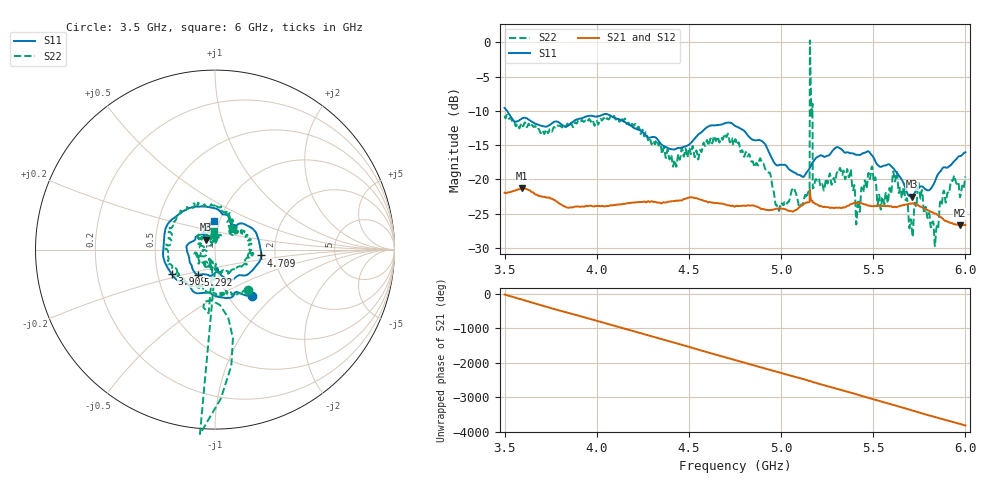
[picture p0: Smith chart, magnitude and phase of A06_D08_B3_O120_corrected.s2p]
! Created with skrf 1.9.0 (http://scikit-rf.org).
# Hz S RI R 50.0
!freq ReS11 ImS11 ReS21 ImS21 ReS12 ImS12 ReS22 ImS22
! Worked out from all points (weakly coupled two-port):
!   1601 points, 3.5 GHz to 6 GHz, reference 50 ohm
!   highest |S21| = -21.32 dB at 3.594 GHz (marker M1); lowest = -26.7 dB at 5.97 GHz (marker M2)
!   lowest |S11| = -22.5 dB at 5.709 GHz (marker M3), VSWR 1.16, Z = 45 + j5.09 ohm
!   |S11| at or under -10 dB: 3.513 GHz to end of sweep
!   |S22| runs from -29.8 to 0.3 dB; largest |S21 - S12| = 0.0011
!   S11 on the Smith chart (normalised r, x): 3.5 GHz: 1.28, -0.75; 3.909 GHz: 0.59, -0.18; 4.709 GHz: 1.69, -0.12; 5.292 GHz: 0.80, -0.23; 6 GHz: 0.94, +0.30
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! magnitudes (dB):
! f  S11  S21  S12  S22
! 3.5 GHz  -9.6  -22.0  -22.0  -10.7
! 3.594 GHz  -11.1  -21.3  -21.3  -11.9
! 3.909 GHz  -11.1  -24.0  -24.0  -11.5
! 3.917 GHz  -11.1  -24.0  -24.0  -11.4
! 4.334 GHz  -14.3  -23.4  -23.4  -15.0
! 4.709 GHz  -11.7  -23.8  -23.7  -13.4
! 4.75 GHz  -12.2  -24.0  -23.9  -14.2
! 5.106 GHz  -19.4  -23.9  -23.9  -23.8
! 5.142 GHz  -18.9  -23.4  -23.3  -22.3
! 5.167 GHz  -17.7  -23.1  -23.1  -10.6
! 5.184 GHz  -17.0  -23.5  -23.5  -20.2
! 5.292 GHz  -15.5  -24.2  -24.2  -20.4
! 5.369 GHz  -16.1  -23.8  -23.8  -19.7
! 5.417 GHz  -16.4  -23.4  -23.5  -23.3
! 5.484 GHz  -16.2  -23.9  -23.9  -19.7
! 5.584 GHz  -17.8  -23.9  -23.9  -22.0
! 5.619 GHz  -18.7  -24.0  -24.1  -20.3
! 5.709 GHz  -22.5  -23.5  -23.5  -27.2
! 5.752 GHz  -21.1  -23.9  -23.9  -21.8
! 5.841 GHz  -19.9  -25.0  -25.0  -27.7
! 5.97 GHz  -16.6  -26.7  -26.7  -22.6
! 6 GHz  -16.1  -26.6  -26.6  -19.6
